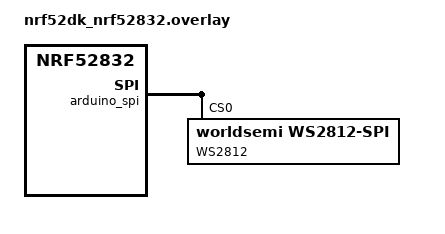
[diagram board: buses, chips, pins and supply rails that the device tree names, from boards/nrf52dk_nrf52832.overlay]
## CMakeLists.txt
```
# SPDX-License-Identifier: Apache-2.0

cmake_minimum_required(VERSION 3.20.0)

find_package(Zephyr REQUIRED HINTS $ENV{ZEPHYR_BASE})
project(led_ws2812)

FILE(GLOB app_sources src/*.c src/services/*.c)
target_sources(app PRIVATE ${app_sources})
```

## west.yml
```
manifest:
  remotes:
    - name: ncs
      url-base: https://github.com/nrfconnect
  projects:
    - name: sdk-nrf
      remote: ncs
      path: nrf
      revision: v2.0.0
      import: true
      clone-depth: 1
  self:
    path: led_ws2812
```

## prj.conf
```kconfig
CONFIG_LOG=y

# choose RTT console
CONFIG_UART_CONSOLE=n
CONFIG_USE_SEGGER_RTT=y
CONFIG_RTT_CONSOLE=y

CONFIG_LED_STRIP=y
CONFIG_LED_STRIP_LOG_LEVEL_DBG=y
CONFIG_WS2812_STRIP=y

CONFIG_NCS_SAMPLES_DEFAULTS=y
CONFIG_DK_LIBRARY=y
CONFIG_SYSTEM_WORKQUEUE_STACK_SIZE=2048

CONFIG_BT=y
CONFIG_BT_PERIPHERAL=y
CONFIG_BT_DEVICE_NAME="Light_Sign"
CONFIG_BT_MAX_CONN=2
CONFIG_BT_SMP=y
CONFIG_BT_MAX_PAIRED=2
CONFIG_BT_FIXED_PASSKEY=y
CONFIG_BT_BONDING_REQUIRED=y

CONFIG_BT_DIS=y
CONFIG_BT_DIS_PNP=n
CONFIG_BT_DIS_MODEL="Lighted Sign"
CONFIG_BT_DIS_MANUF="Robin Gingras"
CONFIG_BT_DIS_SERIAL_NUMBER=y
CONFIG_BT_DIS_FW_REV=y
CONFIG_BT_DIS_HW_REV=y
CONFIG_BT_DIS_SW_REV=y
CONFIG_BT_DIS_SERIAL_NUMBER_STR="000001"
CONFIG_BT_DIS_FW_REV_STR="1.0"
CONFIG_BT_DIS_HW_REV_STR="1.0"
CONFIG_BT_DIS_SW_REV_STR="1.0"
CONFIG_BT_DIS_SETTINGS=y
CONFIG_BT_DIS_STR_MAX=21

# Enable the BMS service
CONFIG_BT_BMS=y

# Enable bonding
CONFIG_BT_SETTINGS=y
CONFIG_FLASH=y
CONFIG_FLASH_PAGE_LAYOUT=y
CONFIG_FLASH_MAP=y
CONFIG_NVS=y
CONFIG_SETTINGS=y
CONFIG_SETTINGS_RUNTIME=y
CONFIG_SETTINGS_NONE=y

CONFIG_EVENTS=y

CONFIG_HEAP_MEM_POOL_SIZE=4098
```

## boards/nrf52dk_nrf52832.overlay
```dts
/*
 * Copyright (c) 2019, Nordic Semiconductor ASA
 *
 * SPDX-License-Identifier: Apache-2.0
 */

#include <dt-bindings/led/led.h>

#include "../nrf52-bindings.h"

&arduino_spi { /* MOSI on D11 / P0.23 */
	compatible = "nordic,nrf-spim";
	led_strip: ws2812@0 {
		compatible = "worldsemi,ws2812-spi";
		label = "WS2812";

		/* SPI */
		reg = <0>; /* ignored, but necessary for SPI bindings */
		spi-max-frequency = <SPI_FREQ>;

		/* WS2812 */
		chain-length = <STRING_LEN>; /* arbitrary; change at will */
		color-mapping = <LED_COLOR_ID_GREEN
				 LED_COLOR_ID_RED
				 LED_COLOR_ID_BLUE>;
		spi-one-frame = <ONE_FRAME>;
		spi-zero-frame = <ZERO_FRAME>;
	};
};

/ {
	aliases {
		led-strip = &led_strip;
	};
};
```

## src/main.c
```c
/*
 * Copyright (c) 2017 Linaro Limited
 * Copyright (c) 2018 Intel Corporation
 *
 * SPDX-License-Identifier: Apache-2.0
 */

#include <zephyr/types.h>
#include <stddef.h>
#include <string.h>
#include <errno.h>
#include <zephyr/sys/printk.h>
#include <zephyr/sys/byteorder.h>
#include <zephyr/zephyr.h>

#include <zephyr/settings/settings.h>

#include <zephyr/bluetooth/bluetooth.h>
#include <zephyr/bluetooth/hci.h>
#include <zephyr/bluetooth/conn.h>
#include <zephyr/bluetooth/uuid.h>
#include <zephyr/bluetooth/gatt.h>
#include <bluetooth/services/bms.h>

#define LOG_LEVEL 4
#include <logging/log.h>
LOG_MODULE_REGISTER(main);

#include <drivers/led_strip.h>
#include <device.h>
#include <drivers/spi.h>
#include <sys/util.h>

#include "services/rbgled_service.h"
#include "services/rgbled.h"

#define DEVICE_NAME             CONFIG_BT_DEVICE_NAME
#define DEVICE_NAME_LEN         (sizeof(DEVICE_NAME) - 1)

#define DELAY_TIME K_MSEC(1000)

static const uint8_t bms_auth_code[] = {'A', 'B', 'C', 'D'};

static const struct bt_data ad[] = {
	BT_DATA_BYTES(BT_DATA_FLAGS, (BT_LE_AD_GENERAL | BT_LE_AD_NO_BREDR)),
	BT_DATA(BT_DATA_NAME_COMPLETE, DEVICE_NAME, DEVICE_NAME_LEN)
};

static const struct bt_data sd[] = {
	BT_DATA_BYTES(BT_DATA_UUID128_ALL, RGBLED_SERVICE_UUID),
};

static void connected(struct bt_conn *conn, uint8_t err)
{
	if (err) {
		printk("Connection failed (err %u)\n", err);
		return;
	}

	printk("Connected\n");
}

static void disconnected(struct bt_conn *conn, uint8_t reason)
{
	printk("Disconnected (reason %u)\n", reason);
}

static void security_changed(struct bt_conn *conn, bt_security_t level,
			     enum bt_security_err err)
{
	char addr[BT_ADDR_LE_STR_LEN];

	bt_addr_le_to_str(bt_conn_get_dst(conn), addr, sizeof(addr));

	if (!err) {
		printk("Security changed: %s level %u\n", addr, level);
	} else {
		printk("Security failed: %s level %u err %d\n", addr, level,
			err);
	}
}

BT_CONN_CB_DEFINE(conn_callbacks) = {
	.connected        = connected,
	.disconnected     = disconnected,
	.security_changed = security_changed,
};


static void auth_passkey_display(struct bt_conn *conn, unsigned int passkey)
{
	char addr[BT_ADDR_LE_STR_LEN];

	bt_addr_le_to_str(bt_conn_get_dst(conn), addr, sizeof(addr));

	printk("Passkey for %s: %06u\n", addr, passkey);
}

static void auth_cancel(struct bt_conn *conn)
{
	char addr[BT_ADDR_LE_STR_LEN];

	bt_addr_le_to_str(bt_conn_get_dst(conn), addr, sizeof(addr));

	printk("Pairing cancelled: %s\n", addr);
}

static void pairing_complete(struct bt_conn *conn, bool bonded)
{
	char addr[BT_ADDR_LE_STR_LEN];

	bt_addr_le_to_str(bt_conn_get_dst(conn), addr, sizeof(addr));

	printk("Pairing completed: %s, bonded: %d\n", addr, bonded);
}

static void pairing_failed(struct bt_conn *conn, enum bt_security_err reason)
{
	char addr[BT_ADDR_LE_STR_LEN];

	bt_addr_le_to_str(bt_conn_get_dst(conn), addr, sizeof(addr));

	printk("Pairing failed conn: %s, reason %d\n", addr, reason);
}

static struct bt_conn_auth_cb conn_auth_callbacks = {
	.passkey_display = auth_passkey_display,
	.cancel = auth_cancel,
};

static struct bt_conn_auth_info_cb conn_auth_info_callbacks = {
	.pairing_complete = pairing_complete,
	.pairing_failed = pairing_failed
};

static bool bms_authorize(struct bt_conn *conn,
			  struct bt_bms_authorize_params *params)
{
	if ((params->code_len == sizeof(bms_auth_code)) &&
	    (memcmp(bms_auth_code, params->code, sizeof(bms_auth_code)) == 0)) {
		printk("Authorization of BMS operation is successful\n");
		return true;
	}

	printk("Authorization of BMS operation has failed\n");
	return false;
}

static struct bt_bms_cb bms_callbacks = {
	.authorize = bms_authorize,
};

static int bms_init(void)
{
	struct bt_bms_init_params init_params = {0};

	/* Enable all possible operation codes */
	init_params.features.delete_requesting.supported = true;
	init_params.features.delete_rest.supported = true;
	init_params.features.delete_all.supported = true;

	/* Require authorization code for operations that
	 * also delete bonding information for other devices
	 * than the requesting client.
	 */
	init_params.features.delete_rest.authorize = true;
	init_params.features.delete_all.authorize = true;

	init_params.cbs = &bms_callbacks;

	return bt_bms_init(&init_params);
}

/**
 * @brief Main application entry point.
 * 
 */
void main(void)
{
	int err;

	err = rgbled_init();
	if (err) {
		printk("Unable to initialize LED driver");
		return;
	}

	err = bt_conn_auth_cb_register(&conn_auth_callbacks);
	if (err) {
		printk("Failed to register authorization callbacks.\n");
		return;
	}

	err = bt_conn_auth_info_cb_register(&conn_auth_info_callbacks);
	if (err) {
		printk("Failed to register authorization info callbacks.\n");
		return;
	}

	err = bt_enable(NULL);
	if (err) {
		printk("Bluetooth init failed (err %d)\n", err);
		return;
	}

	printk("Bluetooth initialized\n");

	err = bt_passkey_set(123456);
	if (err) {
		printk("Unable to set static passkey");
	}

	if (IS_ENABLED(CONFIG_SETTINGS)) {
		settings_load();
	}

	err = bms_init();
	if (err) {
		printk("Failed to init BMS (err:%d)\n", err);
		return;
	}

	err = bt_le_adv_start(BT_LE_ADV_CONN, ad, ARRAY_SIZE(ad),
			      sd, ARRAY_SIZE(sd));
	if (err) {
		printk("Advertising failed to start (err %d)\n", err);
		return;
	}

	printk("Advertising successfully started\n");
	LOG_INF("Displaying pattern on strip");

	while (1) {
		k_sleep(DELAY_TIME);
	}
}
```

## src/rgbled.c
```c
#include "rgbled.h"

#define LOG_LEVEL 4
#include <logging/log.h>
LOG_MODULE_REGISTER(rgbled);

#include <drivers/led_strip.h>
#include <device.h>
#include <drivers/spi.h>
#include <sys/util.h>

#define STRIP_NODE		DT_ALIAS(led_strip)
#define STRIP_NUM_PIXELS	DT_PROP(DT_ALIAS(led_strip), chain_length)

#define DELAY_TIME K_MSEC(5)

struct led_rgb pixels[STRIP_NUM_PIXELS];

static const struct device *strip = DEVICE_DT_GET(STRIP_NODE);

int rgbled_init(void)
{
	int i = 0;
	int err;

	if (device_is_ready(strip)) {
		LOG_INF("Found LED strip device %s", strip->name);
	} else {
		LOG_ERR("LED strip device %s is not ready", strip->name);
		return 1;
	}

    return 0;
}

int rgbled_num_pixels()
{
    return STRIP_NUM_PIXELS;
}

int rgbled_update(void)
{
    int err = 0;

    err = led_strip_update_rgb(strip, pixels, STRIP_NUM_PIXELS);
    if (err) {
        LOG_ERR("couldn't update strip: %d", err);
    }

    return err;
}

void rgbled_set_pixels(struct led_rgb color)
{
    for (int i = 0; i < STRIP_NUM_PIXELS; i++) {
        rgbled_set_pixel(i, color);
    }
}

void rgbled_set_pixel(int pixel, struct led_rgb color)
{
    pixels[pixel] = color;
}
```

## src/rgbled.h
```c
#include <drivers/led_strip.h>

#define RGB(_r, _g, _b) { .r = (_r), .g = (_g), .b = (_b) }

int rgbled_init(void);
int rgbled_update(void);
int rgbled_num_pixels();
void rgbled_set_pixels(struct led_rgb color);
void rgbled_set_pixel(int pixel, struct led_rgb color);
```
